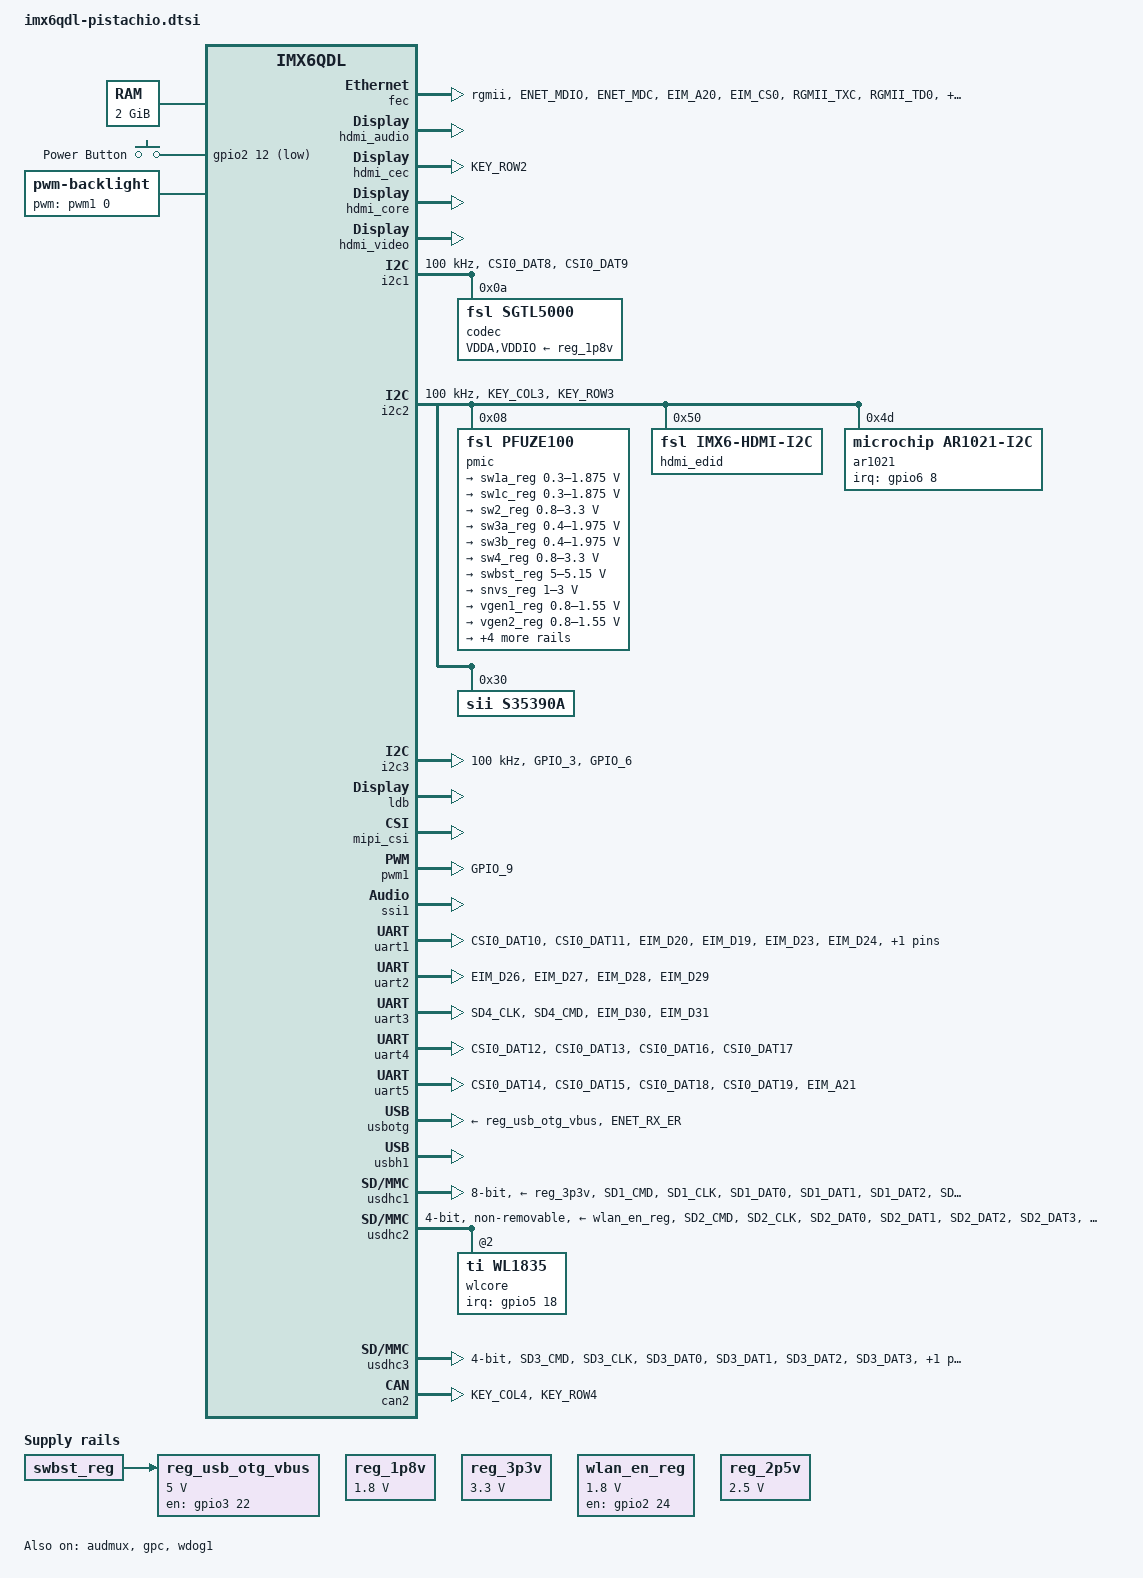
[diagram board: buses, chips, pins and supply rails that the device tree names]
/*
 * Copyright 2017 NutsBoard.Org
 * Copyright 2012-2015 Freescale Semiconductor, Inc.
 * Copyright 2011 Linaro Ltd.
 *
 * The code contained herein is licensed under the GNU General Public
 * License. You may obtain a copy of the GNU General Public License
 * Version 2 or later at the following locations:
 *
 * http://www.opensource.org/licenses/gpl-license.html
 * http://www.gnu.org/copyleft/gpl.html
 */

#include <dt-bindings/gpio/gpio.h>
#include <dt-bindings/input/input.h>

/ {
	aliases {
		mxcfb0 = &mxcfb1;
		mxcfb1 = &mxcfb2;
		mxcfb2 = &mxcfb3;
		mxcfb3 = &mxcfb4;
	};

	chosen {
		stdout-path = &uart4;
	};

	memory: memory {
		reg = <0x10000000 0x80000000>;
	};

	regulators {
		compatible = "simple-bus";
		#address-cells = <1>;
		#size-cells = <0>;

		reg_1p8v: regulator@0 {
			compatible = "regulator-fixed";
			reg = <0>;
			regulator-name = "1P8V";
			regulator-min-microvolt = <1800000>;
			regulator-max-microvolt = <1800000>;
			regulator-always-on;
		};

		reg_3p3v: regulator@1 {
			compatible = "regulator-fixed";
			reg = <1>;
			regulator-name = "3P3V";
			regulator-min-microvolt = <3300000>;
			regulator-max-microvolt = <3300000>;
			regulator-always-on;
		};

		wlan_en_reg: regulator@2 {
			compatible = "regulator-fixed";
			reg = <2>;
			regulator-name = "wlan-en-regulator";
			regulator-min-microvolt = <1800000>;
			regulator-max-microvolt = <1800000>;

			/* WLAN_EN GPIO for pistachio*/
			gpio = <&gpio2 24 0>;
			/* WLAN card specific delay */
			startup-delay-us = <70000>;
			enable-active-high;
		};

		reg_usb_otg_vbus: regulator@3 {
			compatible = "regulator-fixed";
			reg = <3>;
			regulator-name = "usb_otg_vbus";
			regulator-min-microvolt = <5000000>;
			regulator-max-microvolt = <5000000>;
			gpio = <&gpio3 22 0>;
			enable-active-high;
			vin-supply = <&swbst_reg>;
			};

		reg_2p5v: regulator@4 {
			compatible = "regulator-fixed";
			reg = <4>;
			regulator-name = "2P5V";
			regulator-min-microvolt = <2500000>;
			regulator-max-microvolt = <2500000>;
			regulator-always-on;
		};
	};


	gpio-edm {
		compatible = "gpio-edm";
		aud_pwr {
			label = "AUD_PWR";
			gpios = <&gpio4 10 1>;
			dir   = "out";
		};
		hp_det {
			label = "HP_DET";
			gpios = <&gpio7 8 0>;
			dir   = "in";
		};
		i2c_exp_pwr {
			label = "I2C_EXP_PWR";
			gpios = <&gpio3 21 0>;
			dir   = "out";
		};
		gpio_5v1 {
			label = "GPIO_5V1";
			gpios = <&gpio7 11 1>;
			dir   = "in";
		};
		gpio_5v2 {
			label = "GPIO_5V2";
			gpios = <&gpio2 19 1>;
			dir   = "in";
		};
		gpio_5v3 {
			label = "GPIO_5V3";
			gpios = <&gpio5 4 1>;
			dir   = "in";
		};
		gpio_5v4 {
			label = "GPIO_5V4";
			gpios = <&gpio7 12 1>;
			dir   = "in";
		};
		touch_sel {
			label = "TOUCH_SEL";
			gpios = <&gpio2 20 0>;
			dir   = "out";
		};
		touch_pwr {
			label = "TOUCH_PWR";
			gpios = <&gpio2 27 1>;
			dir   = "out";
		};
	};

	gpio-keys {
		compatible = "gpio-keys";
		pinctrl-names = "default";
		pinctrl-0 = <&pinctrl_gpio_keys>;

		power {
			label = "Power Button";
			gpios = <&gpio2 12 GPIO_ACTIVE_LOW>;
			wakeup-source;
			linux,code = <KEY_POWER>;
		};

	};

	btwilink {
		compatible = "btwilink";
	};

	kim {
		compatible = "kim";
		nshutdown_gpio = <49>;
		dev_name = "/dev/ttymxc4";
		flow_cntrl = <1>;
		baud_rate = <921600>;
	};

	sound {
		compatible = "fsl,imx-sgtl5000",
			   "fsl,imx-audio-sgtl5000";
		model = "audio-sgtl5000";
		ssi-controller = <&ssi1>;
		audio-codec = <&codec>;
		audio-routing =
			"MIC_IN", "Mic Jack",
			"Mic Jack", "Mic Bias",
			"Headphone Jack", "HP_OUT";
		mux-int-port = <1>;
		mux-ext-port = <3>;
	};

	sound-hdmi {
		compatible = "fsl,imx6q-audio-hdmi",
		"fsl,imx-audio-hdmi";
		model = "imx-audio-hdmi";
		hdmi-controller = <&hdmi_audio>;
	};

	mxcfb1: fb@0 {
		compatible = "fsl,mxc_sdc_fb";
		disp_dev = "ldb";
		interface_pix_fmt = "RGB666";
		default_bpp = <16>;
		int_clk = <0>;
		late_init = <0>;
		status = "disabled";
	};

	mxcfb2: fb@1 {
		compatible = "fsl,mxc_sdc_fb";
		disp_dev = "hdmi";
		interface_pix_fmt = "RGB24";
		mode_str ="1920x1080M@60";
		default_bpp = <24>;
		int_clk = <0>;
		late_init = <0>;
		status = "disabled";
	};

	mxcfb3: fb@2 {
		compatible = "fsl,mxc_sdc_fb";
		disp_dev = "lcd";
		interface_pix_fmt = "RGB565";
		mode_str ="CLAA-WVGA";
		default_bpp = <16>;
		int_clk = <0>;
		late_init = <0>;
		status = "disabled";
	};

	mxcfb4: fb@3 {
		compatible = "fsl,mxc_sdc_fb";
		disp_dev = "ldb";
		interface_pix_fmt = "RGB666";
		default_bpp = <16>;
		int_clk = <0>;
		late_init = <0>;
		status = "disabled";
	};

	lcd@0 {
		compatible = "fsl,lcd";
		ipu_id = <0>;
		disp_id = <0>;
		default_ifmt = "RGB565";
		pinctrl-names = "default";
		pinctrl-0 = <&pinctrl_ipu1>;
		status = "okay";
	};

	backlight {
		compatible = "pwm-backlight";
		pwms = <&pwm1 0 50000>;
		brightness-levels = <
			0  /*1  2  3  4  5  6*/  7  8  9
			10 11 12 13 14 15 16 17 18 19
			20 21 22 23 24 25 26 27 28 29
			30 31 32 33 34 35 36 37 38 39
			40 41 42 43 44 45 46 47 48 49
			50 51 52 53 54 55 56 57 58 59
			60 61 62 63 64 65 66 67 68 69
			70 71 72 73 74 75 76 77 78 79
			80 81 82 83 84 85 86 87 88 89
			90 91 92 93 94 95 96 97 98 99
			100
		>;
		default-brightness-level = <94>;
		status = "okay";
	};

	v4l2_cap_0 {
		compatible = "fsl,imx6q-v4l2-capture";
		ipu_id = <0>;
		csi_id = <0>;
		mclk_source = <0>;
		status = "okay";
	};

	v4l2_out {
		compatible = "fsl,mxc_v4l2_output";
		status = "okay";
	};
};

&audmux {
	pinctrl-names = "default";
	pinctrl-0 = <&pinctrl_audmux>;
	status = "okay";
};

&clks {
	assigned-clocks = <&clks IMX6QDL_CLK_LDB_DI0_SEL>,
			  <&clks IMX6QDL_CLK_LDB_DI1_SEL>;
	assigned-clock-parents = <&clks IMX6QDL_CLK_PLL2_PFD0_352M>,
				 <&clks IMX6QDL_CLK_PLL2_PFD0_352M>;
};

&fec {
	pinctrl-names = "default";
	pinctrl-0 = <&pinctrl_enet>;
	phy-mode = "rgmii";
	/delete-property/ phy-reset-gpios;
	status = "okay";
};

&gpc {
	fsl,ldo-bypass = <0>;
	status = "okay";
};

&hdmi_audio {
	status = "okay";
};

&hdmi_cec {
	pinctrl-names = "default";
	pinctrl-0 = <&pinctrl_hdmi_cec>;
	status = "okay";
};

&hdmi_core {
	ipu_id = <0>;
	disp_id = <0>;
	status = "okay";
};

&hdmi_video {
	fsl,phy_reg_vlev = <0x0294>;
	fsl,phy_reg_cksymtx = <0x800d>;
	status = "okay";
};

&i2c1 {
	clock-frequency = <100000>;
	pinctrl-names = "default";
	pinctrl-0 = <&pinctrl_i2c1>;
	status = "okay";

	codec: sgtl5000@0a {
		compatible = "fsl,sgtl5000";
		pinctrl-names = "default";
		pinctrl-0 = <&pinctrl_i2c1_sgtl5000>;
		reg = <0x0a>;
		clocks = <&clks IMX6QDL_CLK_CKO>;
		VDDA-supply = <&reg_1p8v>;
		VDDIO-supply = <&reg_1p8v>;
	};

};

&i2c2 {
	clock-frequency = <100000>;
	pinctrl-names = "default";
	pinctrl-0 = <&pinctrl_i2c2>;
	status = "okay";

	pmic: pfuze100@08 {
		compatible = "fsl,pfuze100";
		reg = <0x08>;

		regulators {
			sw1a_reg: sw1ab {
				regulator-min-microvolt = <300000>;
				regulator-max-microvolt = <1875000>;
				regulator-boot-on;
				regulator-always-on;
				regulator-ramp-delay = <6250>;
			};

			sw1c_reg: sw1c {
				regulator-min-microvolt = <300000>;
				regulator-max-microvolt = <1875000>;
				regulator-boot-on;
				regulator-always-on;
				regulator-ramp-delay = <6250>;
			};

			sw2_reg: sw2 {
				regulator-min-microvolt = <800000>;
				regulator-max-microvolt = <3300000>;
				regulator-boot-on;
				regulator-always-on;
				regulator-ramp-delay = <6250>;
			};

			sw3a_reg: sw3a {
				regulator-min-microvolt = <400000>;
				regulator-max-microvolt = <1975000>;
				regulator-boot-on;
				regulator-always-on;
			};

			sw3b_reg: sw3b {
				regulator-min-microvolt = <400000>;
				regulator-max-microvolt = <1975000>;
				regulator-boot-on;
				regulator-always-on;
			};

			sw4_reg: sw4 {
				regulator-min-microvolt = <800000>;
				regulator-max-microvolt = <3300000>;
			};

			swbst_reg: swbst {
				regulator-min-microvolt = <5000000>;
				regulator-max-microvolt = <5150000>;
			};

			snvs_reg: vsnvs {
				regulator-min-microvolt = <1000000>;
				regulator-max-microvolt = <3000000>;
				regulator-boot-on;
				regulator-always-on;
			};

			vref_reg: vrefddr {
				regulator-boot-on;
				regulator-always-on;
			};

			vgen1_reg: vgen1 {
				regulator-min-microvolt = <800000>;
				regulator-max-microvolt = <1550000>;
			};

			vgen2_reg: vgen2 {
				regulator-min-microvolt = <800000>;
				regulator-max-microvolt = <1550000>;
			};

			vgen3_reg: vgen3 {
				regulator-min-microvolt = <1800000>;
				regulator-max-microvolt = <3300000>;
			};

			vgen4_reg: vgen4 {
				regulator-min-microvolt = <1800000>;
				regulator-max-microvolt = <3300000>;
				regulator-always-on;
			};

			vgen5_reg: vgen5 {
				regulator-min-microvolt = <1800000>;
				regulator-max-microvolt = <3300000>;
				regulator-always-on;
			};
			vgen6_reg: vgen6 {
				regulator-min-microvolt = <1800000>;
				regulator-max-microvolt = <3300000>;
				regulator-always-on;
			};

		};
	};

	hdmi_edid: edid@50 {
		compatible = "fsl,imx6-hdmi-i2c";
		reg = <0x50>;
	};

	ar1021@4d {
		compatible = "microchip,ar1021-i2c";
		reg = <0x4d>;
		interrupt-parent = <&gpio6>;
		interrupts = <8 0x2>;
	};

	s35390a@30 {
		compatible = "sii,s35390a";
		reg = <0x30>;
	};
};

&i2c3 {
	clock-frequency = <100000>;
	pinctrl-names = "default";
	pinctrl-0 = <&pinctrl_i2c3>;
	status = "okay";

};

&iomuxc {
	pinctrl-names = "default";
	pinctrl-0 = <&pinctrl_hog>;

	imx6qdl-pistachio {
		pinctrl_hog: hoggrp {
			fsl,pins = <
				MX6QDL_PAD_EIM_D22__GPIO3_IO22	0x1b0b1  /*pcie power*/
				MX6QDL_PAD_EIM_A25__GPIO5_IO02	0x1b0b1   /*LCD power*/
				MX6QDL_PAD_EIM_D16__GPIO3_IO16	0x1b0b1   /*backlight power*/
				MX6QDL_PAD_GPIO_2__GPIO1_IO02	((1<<30) | 0x1b0b0) /*SD3 CD pin*/
				MX6QDL_PAD_KEY_COL2__GPIO4_IO10	0x1b0b1 /*codec power*/
				MX6QDL_PAD_EIM_A16__GPIO2_IO22	0x1b0b1 /*touch reset*/
				MX6QDL_PAD_NANDF_ALE__GPIO6_IO08	0x1b0b0 /*touch irq*/
				MX6QDL_PAD_GPIO_7__GPIO1_IO07	0x1b0b1 /*backlight pwr*/
				MX6QDL_PAD_GPIO_16__GPIO7_IO11	((1<<30) | 0x1b0b0) /*gpio 5V_1*/
				MX6QDL_PAD_EIM_A19__GPIO2_IO19	((1<<30) | 0x1b0b0) /*gpio 5V_2*/
				MX6QDL_PAD_EIM_A24__GPIO5_IO04	((1<<30) | 0x1b0b0) /*gpio 5V_3*/
				MX6QDL_PAD_GPIO_17__GPIO7_IO12	((1<<30) | 0x1b0b0) /*gpio 5V_4*/
				MX6QDL_PAD_NANDF_CLE__GPIO6_IO07	0x1b0b0 /*AUX_5V_EN*/
				MX6QDL_PAD_NANDF_WP_B__GPIO6_IO09	0x1b0b1 /*AUX_5VB_EN*/
				MX6QDL_PAD_NANDF_RB0__GPIO6_IO10	0x1b0b1 /*AUX_3V3_EN*/
				MX6QDL_PAD_EIM_D21__GPIO3_IO21	((1<<30) | 0x1b0b1) /*I2C expander pwr*/
				MX6QDL_PAD_EIM_A18__GPIO2_IO20	((1<<30) | 0x1b0b0) /*touch select*/
				MX6QDL_PAD_EIM_LBA__GPIO2_IO27	((1<<30) | 0x1b0b0) /*touch pwr*/
			>;
		};

		pinctrl_i2c1_sgtl5000: i2c1-sgtl5000grp {
			fsl,pins = <
				MX6QDL_PAD_GPIO_0__CCM_CLKO1			0x000b0 /* sys_mclk */
				MX6QDL_PAD_SD3_RST__GPIO7_IO08		0x130b0 /*headphone det*/
				MX6QDL_PAD_GPIO_8__GPIO1_IO08			0x130b0 /*microphone det*/
			>;
		};

		pinctrl_audmux: audmuxgrp {
			fsl,pins = <
				MX6QDL_PAD_CSI0_DAT7__AUD3_RXD		0x130b0
				MX6QDL_PAD_CSI0_DAT4__AUD3_TXC		0x130b0
				MX6QDL_PAD_CSI0_DAT5__AUD3_TXD		0x110b0
				MX6QDL_PAD_CSI0_DAT6__AUD3_TXFS		0x130b0
			>;
		};

		pinctrl_ecspi1: ecspi1grp {
			fsl,pins = <
				MX6QDL_PAD_KEY_COL1__ECSPI1_MISO	0x100b1
				MX6QDL_PAD_KEY_ROW0__ECSPI1_MOSI	0x100b1
				MX6QDL_PAD_KEY_COL0__ECSPI1_SCLK	0x100b1
				MX6QDL_PAD_KEY_ROW1__GPIO4_IO09		0x1b0b0
			>;
		};

		pinctrl_enet: enetgrp {
			fsl,pins = <
				MX6QDL_PAD_ENET_MDIO__ENET_MDIO		0x1b8b0
				MX6QDL_PAD_ENET_MDC__ENET_MDC		0x1b0b0
			/* AR8035 reset */
				MX6QDL_PAD_EIM_A20__GPIO2_IO18		0x130b0
				/* AR8035 interrupt */
				MX6QDL_PAD_EIM_CS0__GPIO2_IO23		0x80000000
				MX6QDL_PAD_RGMII_TXC__RGMII_TXC		0x80000000
				MX6QDL_PAD_RGMII_TD0__RGMII_TD0		0x1b030
				MX6QDL_PAD_RGMII_TD1__RGMII_TD1		0x1b030
				MX6QDL_PAD_RGMII_TD2__RGMII_TD2		0x1b030
				MX6QDL_PAD_RGMII_TD3__RGMII_TD3		0x1b030
				MX6QDL_PAD_RGMII_TX_CTL__RGMII_TX_CTL	0x1b030
				/* AR8035 CLK_25M --> ENET_REF_CLK (V22) */
				MX6QDL_PAD_ENET_REF_CLK__ENET_TX_CLK	0x0a0b1
				/* AR8035 pin strapping: IO voltage: pull up */
				MX6QDL_PAD_RGMII_RXC__RGMII_RXC		0x1b030
				/* AR8035 pin strapping: PHYADDR#0: pull down */
				MX6QDL_PAD_RGMII_RD0__RGMII_RD0		0x13030
				/* AR8035 pin strapping: PHYADDR#1: pull down */
				MX6QDL_PAD_RGMII_RD1__RGMII_RD1		0x13030
				/* AR8035 pin strapping: MODE#1: pull up */
				MX6QDL_PAD_RGMII_RD2__RGMII_RD2		0x1b030
				/* AR8035 pin strapping: MODE#3: pull up */
				MX6QDL_PAD_RGMII_RD3__RGMII_RD3		0x1b030
				/* AR8035 pin strapping: MODE#0: pull down */
				MX6QDL_PAD_RGMII_RX_CTL__RGMII_RX_CTL	0x13030
			>;
		};

		pinctrl_gpio_keys: gpio_keysgrp {
			fsl,pins = <
				MX6QDL_PAD_SD4_DAT4__GPIO2_IO12 0x1b0b0
			>;
		};

		pinctrl_hdmi_cec: hdmicecgrp {
			fsl,pins = <
				MX6QDL_PAD_KEY_ROW2__HDMI_TX_CEC_LINE 0x108b0
			>;
		};

		pinctrl_hdmi_hdcp: hdmihdcpgrp {
			fsl,pins = <
				MX6QDL_PAD_KEY_COL3__HDMI_TX_DDC_SCL 0x4001b8b1
				MX6QDL_PAD_KEY_ROW3__HDMI_TX_DDC_SDA 0x4001b8b1
			>;
		};

		pinctrl_i2c1: i2c1grp {
			fsl,pins = <
				MX6QDL_PAD_CSI0_DAT8__I2C1_SDA		0x4001b8b1
				MX6QDL_PAD_CSI0_DAT9__I2C1_SCL		0x4001b8b1
			>;
		};

		pinctrl_i2c2: i2c2grp {
			fsl,pins = <
				MX6QDL_PAD_KEY_COL3__I2C2_SCL		0x4001b8b1
				MX6QDL_PAD_KEY_ROW3__I2C2_SDA		0x4001b8b1
			>;
		};

		pinctrl_i2c3: i2c3grp {
			fsl,pins = <
				MX6QDL_PAD_GPIO_3__I2C3_SCL		0x4001b8b1
				MX6QDL_PAD_GPIO_6__I2C3_SDA		0x4001b8b1
			>;
		};

		pinctrl_ipu1: ipu1grp {
			fsl,pins = <
				MX6QDL_PAD_DI0_DISP_CLK__IPU1_DI0_DISP_CLK 0x10
				MX6QDL_PAD_DI0_PIN15__IPU1_DI0_PIN15       0x10
				MX6QDL_PAD_DI0_PIN2__IPU1_DI0_PIN02        0x10
				MX6QDL_PAD_DI0_PIN3__IPU1_DI0_PIN03        0x10
				MX6QDL_PAD_DI0_PIN4__IPU1_DI0_PIN04        0x80000000
				MX6QDL_PAD_DISP0_DAT0__IPU1_DISP0_DATA00   0x10
				MX6QDL_PAD_DISP0_DAT1__IPU1_DISP0_DATA01   0x10
				MX6QDL_PAD_DISP0_DAT2__IPU1_DISP0_DATA02   0x10
				MX6QDL_PAD_DISP0_DAT3__IPU1_DISP0_DATA03   0x10
				MX6QDL_PAD_DISP0_DAT4__IPU1_DISP0_DATA04   0x10
				MX6QDL_PAD_DISP0_DAT5__IPU1_DISP0_DATA05   0x10
				MX6QDL_PAD_DISP0_DAT6__IPU1_DISP0_DATA06   0x10
				MX6QDL_PAD_DISP0_DAT7__IPU1_DISP0_DATA07   0x10
				MX6QDL_PAD_DISP0_DAT8__IPU1_DISP0_DATA08   0x10
				MX6QDL_PAD_DISP0_DAT9__IPU1_DISP0_DATA09   0x10
				MX6QDL_PAD_DISP0_DAT10__IPU1_DISP0_DATA10  0x10
				MX6QDL_PAD_DISP0_DAT11__IPU1_DISP0_DATA11  0x10
				MX6QDL_PAD_DISP0_DAT12__IPU1_DISP0_DATA12  0x10
				MX6QDL_PAD_DISP0_DAT13__IPU1_DISP0_DATA13  0x10
				MX6QDL_PAD_DISP0_DAT14__IPU1_DISP0_DATA14  0x10
				MX6QDL_PAD_DISP0_DAT15__IPU1_DISP0_DATA15  0x10
				MX6QDL_PAD_DISP0_DAT16__IPU1_DISP0_DATA16  0x10
				MX6QDL_PAD_DISP0_DAT17__IPU1_DISP0_DATA17  0x10
				MX6QDL_PAD_DISP0_DAT18__IPU1_DISP0_DATA18  0x10
				MX6QDL_PAD_DISP0_DAT19__IPU1_DISP0_DATA19  0x10
				MX6QDL_PAD_DISP0_DAT20__IPU1_DISP0_DATA20  0x10
				MX6QDL_PAD_DISP0_DAT21__IPU1_DISP0_DATA21  0x10
				MX6QDL_PAD_DISP0_DAT22__IPU1_DISP0_DATA22  0x10
				MX6QDL_PAD_DISP0_DAT23__IPU1_DISP0_DATA23  0x10
			>;
		};

		pinctrl_pwm1: pwm1grp {
			fsl,pins = <
				MX6QDL_PAD_GPIO_9__PWM1_OUT	    0x1b0b1
			>;
		};

		pinctrl_uart1: uart1grp {
			fsl,pins = <
				MX6QDL_PAD_CSI0_DAT10__UART1_RX_DATA	0x1b0b1
				MX6QDL_PAD_CSI0_DAT11__UART1_TX_DATA	0x1b0b1
				MX6QDL_PAD_EIM_D20__UART1_CTS_B	0x1b0b1
				MX6QDL_PAD_EIM_D19__UART1_RTS_B	0x1b0b1
				MX6QDL_PAD_EIM_D23__UART1_DCD_B	0x1b0b0
				MX6QDL_PAD_EIM_D24__UART1_DTR_B	0x1b0b0
				MX6QDL_PAD_EIM_D25__UART1_DSR_B	0x1b0b0
			>;
		};

		pinctrl_uart2: uart2grp {
			fsl,pins = <
				MX6QDL_PAD_EIM_D26__UART2_TX_DATA	0x1b0b1
				MX6QDL_PAD_EIM_D27__UART2_RX_DATA	0x1b0b1
				MX6QDL_PAD_EIM_D28__UART2_CTS_B	0x1b0b1
				MX6QDL_PAD_EIM_D29__UART2_RTS_B	0x1b0b1
			>;
		};

		pinctrl_uart3: uart3grp {
			fsl,pins = <
				MX6QDL_PAD_SD4_CLK__UART3_RX_DATA	0x1b0b1
				MX6QDL_PAD_SD4_CMD__UART3_TX_DATA	0x1b0b1
				MX6QDL_PAD_EIM_D30__UART3_CTS_B		0x1b0b1
				MX6QDL_PAD_EIM_D31__UART3_RTS_B		0x1b0b1
			>;
		};

		pinctrl_uart4: uart4grp {
			fsl,pins = <
				MX6QDL_PAD_CSI0_DAT12__UART4_TX_DATA	0x1b0b1
				MX6QDL_PAD_CSI0_DAT13__UART4_RX_DATA	0x1b0b1
 				MX6QDL_PAD_CSI0_DAT16__UART4_RTS_B	0x1b0b1
				MX6QDL_PAD_CSI0_DAT17__UART4_CTS_B	0x1b0b1
			>;
		};


		pinctrl_uart5: uart5grp {
			fsl,pins = <
				MX6QDL_PAD_CSI0_DAT14__UART5_TX_DATA	0x1b0b1
				MX6QDL_PAD_CSI0_DAT15__UART5_RX_DATA	0x1b0b1
				MX6QDL_PAD_CSI0_DAT18__UART5_RTS_B	0x1b0b1
				MX6QDL_PAD_CSI0_DAT19__UART5_CTS_B	0x1b0b1
				MX6QDL_PAD_EIM_A21__GPIO2_IO17		 0x15059 /*BT_EN*/
			>;
		};

		pinctrl_flexcan2: flexcan2grp {
			fsl,pins = <
				MX6QDL_PAD_KEY_COL4__FLEXCAN2_TX 0x80000000
				MX6QDL_PAD_KEY_ROW4__FLEXCAN2_RX 0x80000000
			>;
		};

		pinctrl_usbotg: usbotggrp {
			fsl,pins = <
				MX6QDL_PAD_ENET_RX_ER__USB_OTG_ID	0x17059
			>;
		};

		pinctrl_usdhc1: usdhc1grp {
			fsl,pins = <
				MX6QDL_PAD_SD1_CMD__SD1_CMD		0x17059
				MX6QDL_PAD_SD1_CLK__SD1_CLK		0x10059
				MX6QDL_PAD_SD1_DAT0__SD1_DATA0		0x17059
				MX6QDL_PAD_SD1_DAT1__SD1_DATA1		0x17059
				MX6QDL_PAD_SD1_DAT2__SD1_DATA2		0x17059
				MX6QDL_PAD_SD1_DAT3__SD1_DATA3		0x17059
				MX6QDL_PAD_NANDF_D0__SD1_DATA4		0x17059
				MX6QDL_PAD_NANDF_D1__SD1_DATA5		0x17059
				MX6QDL_PAD_NANDF_D2__SD1_DATA6		0x17059
				MX6QDL_PAD_NANDF_D3__SD1_DATA7		0x17059
			>;
		};

		pinctrl_usdhc2: usdhc2grp {
			fsl,pins = <
				MX6QDL_PAD_SD2_CMD__SD2_CMD		0x17059
				MX6QDL_PAD_SD2_CLK__SD2_CLK		0x10059
				MX6QDL_PAD_SD2_DAT0__SD2_DATA0		0x17059
				MX6QDL_PAD_SD2_DAT1__SD2_DATA1		0x17059
				MX6QDL_PAD_SD2_DAT2__SD2_DATA2		0x17059
				MX6QDL_PAD_SD2_DAT3__SD2_DATA3		0x17059
				MX6QDL_PAD_EIM_RW__GPIO2_IO26			0x15059 /*WL_EN_LDO*/
				MX6QDL_PAD_EIM_CS1__GPIO2_IO24		0x15059 /*WL_EN*/
				MX6QDL_PAD_CSI0_PIXCLK__GPIO5_IO18	0x15059 /*WL_IRQ*/
			>;
		};

		pinctrl_usdhc3: usdhc3grp {
			fsl,pins = <
				MX6QDL_PAD_SD3_CMD__SD3_CMD		0x17071
				MX6QDL_PAD_SD3_CLK__SD3_CLK		0x10071
				MX6QDL_PAD_SD3_DAT0__SD3_DATA0		0x17071
				MX6QDL_PAD_SD3_DAT1__SD3_DATA1		0x17071
				MX6QDL_PAD_SD3_DAT2__SD3_DATA2		0x17071
				MX6QDL_PAD_SD3_DAT3__SD3_DATA3		0x17071
			>;
		};

		pinctrl_wdog: wdoggrp {
			fsl,pins = <
				MX6QDL_PAD_GPIO_1__WDOG2_B 0x80000000
			>;
		};
	};

};

&ldb {
	status = "okay";

	lvds-channel@0 {
	fsl,data-mapping = "spwg";
	fsl,data-width = <18>;
	status = "okay";

		display-timings {
			native-mode = <&timing0>;
			timing0: hsd100pxn1 {
				clock-frequency = <65000000>;
				hactive = <1024>;
				vactive = <768>;
				hback-porch = <220>;
				hfront-porch = <40>;
				vback-porch = <21>;
				vfront-porch = <7>;
				hsync-len = <60>;
				vsync-len = <10>;
			};
		};
	};

	lvds-channel@1 {
		fsl,data-mapping = "spwg";
		fsl,data-width = <18>;
		primary;
		status = "okay";

		display-timings {
			native-mode = <&timing1>;
			timing1: hsd100pxn1 {
				clock-frequency = <65000000>;
				hactive = <1024>;
				vactive = <600>;
				hback-porch = <220>;
				hfront-porch = <40>;
				vback-porch = <21>;
				vfront-porch = <7>;
				hsync-len = <60>;
				vsync-len = <10>;
			};
		};
	};
};

&mipi_csi {
	status = "okay";
	ipu_id = <0>;
	csi_id = <1>;
	v_channel = <0>;
	lanes = <2>;
};

&pwm1 {
	pinctrl-names = "default";
	pinctrl-0 = <&pinctrl_pwm1>;
	status = "okay";
};

&reg_arm {
	vin-supply = <&sw1a_reg>;
};

&reg_pu {
	vin-supply = <&sw1c_reg>;
};

&reg_soc {
	vin-supply = <&sw1c_reg>;
};

&snvs_poweroff {
	status = "okay";
};

&ssi1 {
	assigned-clocks = <&clks IMX6QDL_CLK_PLL4>,
			  <&clks IMX6QDL_PLL4_BYPASS>,
			  <&clks IMX6QDL_CLK_SSI1_SEL>;
	assigned-clock-parents = <&clks IMX6QDL_CLK_OSC>,
				 <&clks IMX6QDL_CLK_PLL4>,
				 <&clks IMX6QDL_CLK_PLL4_AUDIO_DIV>;
	assigned-clock-rates = <1179648000>, <0>, <0>;
	status = "okay";
};

&uart1 {
	pinctrl-names = "default";
	pinctrl-0 = <&pinctrl_uart1>;
	fsl,uart-has-rtscts;
	fsl,dte-mode;
	status = "okay";
};

&uart2 {
	pinctrl-names = "default";
	pinctrl-0 = <&pinctrl_uart2>;
	fsl,uart-has-rtscts;
	status = "okay";
};

&uart3 {
	pinctrl-names = "default";
	pinctrl-0 = <&pinctrl_uart3>;
	fsl,uart-has-rtscts;
	status = "okay";
};

&uart4 {
	pinctrl-names = "default";
	pinctrl-0 = <&pinctrl_uart4>;
	fsl,uart-has-rtscts;
	status = "okay";
};

&uart5 {
	pinctrl-names = "default";
	pinctrl-0 = <&pinctrl_uart5>;
	fsl,uart-has-rtscts;
	status = "okay";
};

&usbotg {
	vbus-supply = <&reg_usb_otg_vbus>;
	pinctrl-names = "default";
	pinctrl-0 = <&pinctrl_usbotg>;
	disable-over-current;
	srp-disable;
	hnp-disable;
	adp-disable;
	status = "okay";
};


&usbh1 {
	status = "okay";
};

&usbphy1 {
	tx-d-cal = <0x5>;
};

&usbphy2 {
	tx-d-cal = <0x5>;
};

&usdhc1 {
	pinctrl-names = "default";
	pinctrl-0 = <&pinctrl_usdhc1>;
	bus-width = <8>;
	keep-power-in-suspend;
	vmmc-supply = <&reg_3p3v>;
	status = "okay";
};

&usdhc2 {
	pinctrl-names = "default";
	pinctrl-0 = <&pinctrl_usdhc2>;
	bus-width = <4>;
	vmmc-supply = <&wlan_en_reg>;
	no-1-8-v;
	pm-ignore-notify;
	keep-power-in-suspend;
	non-removable;
	cap-power-off-card;
	status = "okay";

	#address-cells = <1>;
	#size-cells = <0>;
	wlcore: wlcore@2 {
		compatible = "ti,wl1835";
		reg = <2>;
		interrupt-parent = <&gpio5>;
		interrupts = <18 IRQ_TYPE_EDGE_RISING>;
		ref-clock-frequency = <38400000>;
		tcxo-clock-frequency = <26000000>;
	};
};

&usdhc3 {
	pinctrl-names = "default";
	pinctrl-0 = <&pinctrl_usdhc3>;
	bus-width = <4>;
	cd-gpios = <&gpio1 2 GPIO_ACTIVE_LOW>;
	no-1-8-v;
	keep-power-in-suspend;
	enable-sdio-wakeup;
	status = "okay";
};

&wdog1 {
	status = "okay";
};

&wdog2 {
	pinctrl-names = "default";
	pinctrl-0 = <&pinctrl_wdog>;
	fsl,ext-reset-output;
	status = "disabled";
};

&can2 {
	pinctrl-names = "default";
	pinctrl-0 = <&pinctrl_flexcan2>;
	status = "okay";
};
